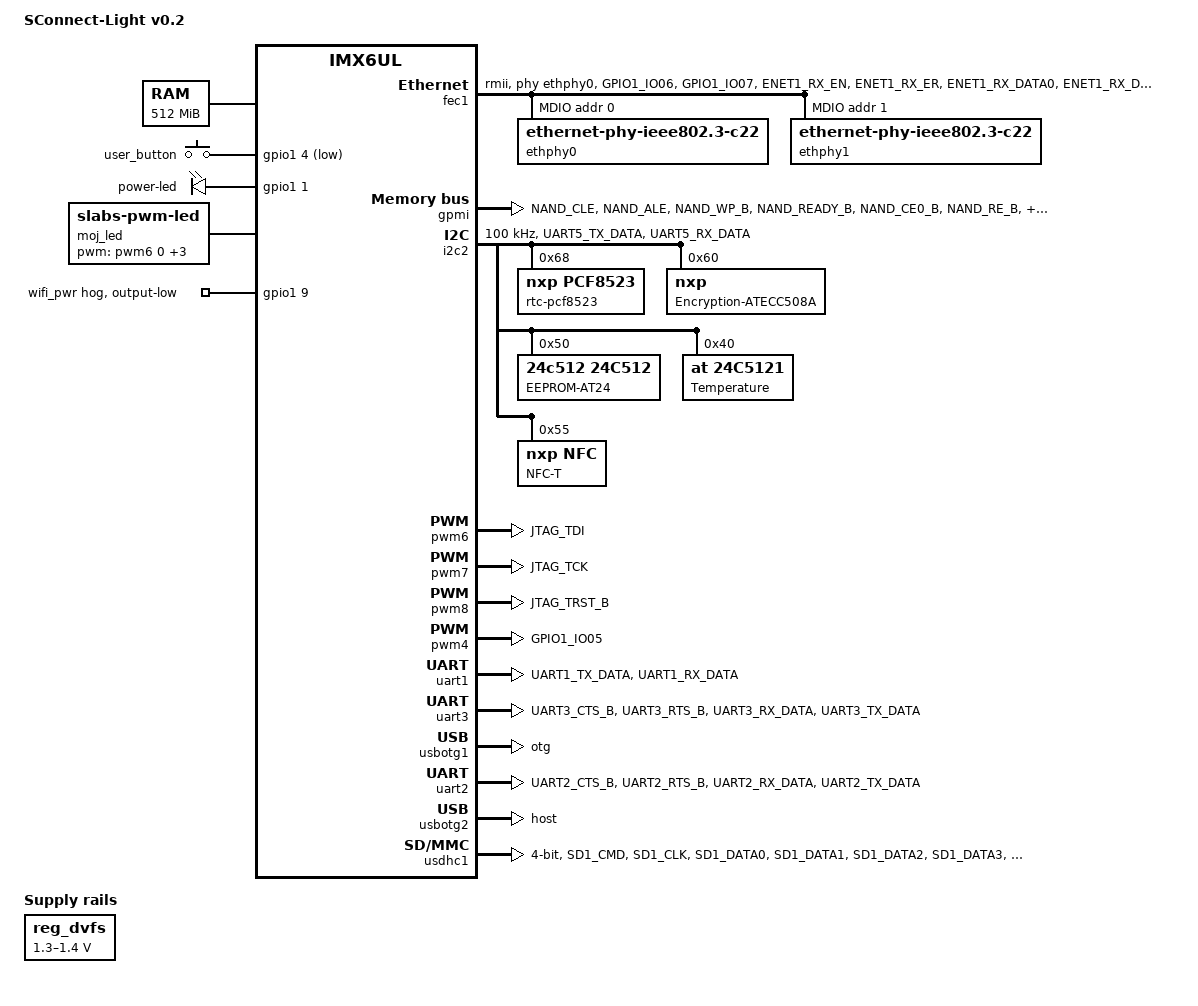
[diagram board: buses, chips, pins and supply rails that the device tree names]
/*
 * Copyright (C) 2015 Freescale Semiconductor, Inc.
 *
 * This program is free software; you can redistribute it and/or modify
 * it under the terms of the GNU General Public License version 2 as
 * published by the Free Software Foundation.
 */

/dts-v1/;

#include "imx6ul.dtsi"

/ {
	model = "SConnect-Light v0.2";
	compatible = "fsl,imx6ul-14x14-evk", "fsl,imx6ul";
	uboot_build = "";
	image_build = "";

	chosen {
		stdout-path = &uart1;
	};

	memory {
		reg = <0x80000000 0x20000000>;
	};

	reserved-memory {
		#address-cells = <1>;
		#size-cells = <1>;
		ranges;

		linux,cma {
			compatible = "shared-dma-pool";
			reusable;
			size = <0x14000000>;
			linux,cma-default;
		};
	};

	regulators {
		compatible = "simple-bus";
		#address-cells = <1>;
		#size-cells = <0>;
		
		reg_dvfs: regulator-gpio {
			compatible = "regulator-fixed";
			regulator-min-microvolt = <1300000>;
			regulator-max-microvolt = <1400000>;
			regulator-name = "gpio_dvfs";
			regulator-type = "voltage";
			states = <1300000 0x1 1400000 0x0>;
		};
	};
	
	gpio-keys {
		compatible = "gpio-keys";
		pinctrl-names = "default";
		pinctrl-0 = <&pinctrl_button_gpio>; /*<&pinctrl_gpio_key>; */
		
		pcb-button {
			label = "user_button";
			gpios = <&gpio1 4 GPIO_ACTIVE_LOW>;
			gpio-key; /*,wakeup; */
			linux,code = <108>;
		};
	};

	leds {
		compatible = "gpio-leds";
		pinctrl-names = "default";
		pinctrl-0 = <&pinctrl_leds>;

		led1: power_led {
			label = "power-led";
			gpios = <&gpio1 1 GPIO_ACTIVE_HIGH>;
			default-state = "off";
			linux,default-trigger = "gpio";
		};
		
	};

        pwm-led {
            compatible = "slabs-pwm-led";
            pwms = <&pwm6 0 5000000>, <&pwm7 0 5000000>, <&pwm8 0 5000000>, <&pwm4 0 5000000>;
            pwm-names = "pwm-green", "pwm-red", "pwm-blue", "pwm-blink";
            label = "moj_led";
            trigger = "booting";
            val = <0xAB>;
        
        };


};

&cpu0 {
	arm-supply = <&reg_arm>;
	soc-supply = <&reg_soc>;
	dc-supply = <&reg_dvfs>;
};

&clks {
	assigned-clocks = <&clks IMX6UL_CLK_PLL4_AUDIO_DIV>;
	assigned-clock-rates = <786432000>;
};

&csi {
	status = "disabled";
};

&fec1 {
	pinctrl-names = "default";
	pinctrl-0 = <&pinctrl_enet1>;
	phy-mode = "rmii";
	phy-handle = <&ethphy0>;
        phy-reset-gpios = <&gpio1 3 GPIO_ACTIVE_LOW>;
        phy-reset-duration = <5>;
	status = "okay";

    mdio {
		#address-cells = <1>;
		#size-cells = <0>;

		ethphy0: ethernet-phy@0 {
			compatible = "ethernet-phy-ieee802.3-c22";
			reg = <0>;
		};
		ethphy1: ethernet-phy@1 {
			compatible = "ethernet-phy-ieee802.3-c22";
			reg = <1>;
		};
	};
};

&gpc {
	fsl,cpu_pupscr_sw2iso = <0x1>;
	fsl,cpu_pupscr_sw = <0x0>;
	fsl,cpu_pdnscr_iso2sw = <0x1>;
	fsl,cpu_pdnscr_iso = <0x1>;
	fsl,ldo-bypass = <0>; /* DCDC, ldo-enable */
};

&gpmi {
	pinctrl-names = "default";
	pinctrl-0 = <&pinctrl_gpmi_nand_1>;
	status = "okay";
	nand-on-flash-bbt;
};

&i2c1 {
	clock-frequency = <100000>;
	pinctrl-names = "default";
	/*pinctrl-0 = <&pinctrl_i2c1>;*/
	status = "disabled";
};

&i2c2 {
	clock-frequency = <100000>;
	pinctrl-names = "default";
	pinctrl-0 = <&pinctrl_i2c2>;
	status = "okay";

	/*0xD0 0XD1*/
	rtc-pcf8523@68 {
		compatible = "nxp,pcf8523";  
		reg = <0x68>;
	};
	
	/*0xD0 0XD1*/
	Encryption-ATECC508A@60 {
		compatible = "nxp,";
		reg = <0x60>;
	};
	
	/*0x50 0X51  at24C512*/
	EEPROM-AT24@50 {
		compatible = "24c512,24c512";
		reg = <0x50>;
	};
	
	/*0x80 0X81 DNP*/
	Temperature@40 {
		compatible = "at,24c5121";
		reg = <0x40>;
	};
	/*0xAB 0XAA DNP*/
	NFC-T@55 {
		compatible = "nxp,NFC";
		reg = <0x55>;
	};
	
};

&iomuxc {
	pinctrl-names = "default";
	pinctrl-0 = <&pinctrl_hog_1>, <&pinctrl_out_up>, <&pinctrl_out_down>;
	imx6ul-evk {
		pinctrl_hog_1: hoggrp-1 {
			fsl,pins = <
			
				MX6UL_PAD_GPIO1_IO00__ANATOP_OTG1_ID        0x17059 /* USB OTG1 ID */
				MX6UL_PAD_GPIO1_IO04__GPIO1_IO04	    0x1b0b0 /* ENET1 RESET */
			
				MX6UL_PAD_GPIO1_IO03__GPIO1_IO03            0x000110A0 /* ENET1 INT */

				MX6UL_PAD_CSI_DATA04__GPIO4_IO25            0x000010B0 /* CPU_CTRL_BLE1 */
				MX6UL_PAD_CSI_DATA05__GPIO4_IO26            0x000010B0 /* CPU_RST_BLE1 */

                                MX6UL_PAD_CSI_DATA06__GPIO4_IO27            0x000010B0 /* CPU_CTRL_BLE2 */
                                MX6UL_PAD_CSI_DATA07__GPIO4_IO28            0x000010B0 /* CPU_RST_BLE2 */

/*
				MX6UL_PAD_JTAG_MOD__SJC_MOD                0x0000B0A0
				MX6UL_PAD_JTAG_TCK__SJC_TCK                0x000070A0
				MX6UL_PAD_JTAG_TDI__SJC_TDI                0x000070A0
				MX6UL_PAD_JTAG_TDO__SJC_TDO                0x0000B0B1
				MX6UL_PAD_JTAG_TMS__SJC_TMS                0x000070A0
				MX6UL_PAD_JTAG_TRST_B__SJC_TRSTB           0x000070A0
*/
				MX6UL_PAD_LCD_DATA00__SRC_BT_CFG00         0x000010B0
				MX6UL_PAD_LCD_DATA01__SRC_BT_CFG01         0x000010B0
				MX6UL_PAD_LCD_DATA02__SRC_BT_CFG02         0x000010B0
				MX6UL_PAD_LCD_DATA03__SRC_BT_CFG03         0x000010B0
				MX6UL_PAD_LCD_DATA04__SRC_BT_CFG04         0x000010B0
				MX6UL_PAD_LCD_DATA05__SRC_BT_CFG05         0x000010B0
				MX6UL_PAD_LCD_DATA06__SRC_BT_CFG06         0x000010B0
				MX6UL_PAD_LCD_DATA07__SRC_BT_CFG07         0x000010B0
				MX6UL_PAD_LCD_DATA08__SRC_BT_CFG08         0x000010B0
				MX6UL_PAD_LCD_DATA09__SRC_BT_CFG09         0x000010B0
				MX6UL_PAD_LCD_DATA10__SRC_BT_CFG10         0x000010B0
				MX6UL_PAD_LCD_DATA11__SRC_BT_CFG11         0x000010B0
				MX6UL_PAD_LCD_DATA12__SRC_BT_CFG12         0x000010B0
				MX6UL_PAD_LCD_DATA14__SRC_BT_CFG14         0x000010B0
				MX6UL_PAD_LCD_DATA15__SRC_BT_CFG15         0x000010B0
				MX6UL_PAD_LCD_DATA16__SRC_BT_CFG24         0x000010B0
				MX6UL_PAD_LCD_DATA17__SRC_BT_CFG25         0x000010B0
				MX6UL_PAD_LCD_DATA18__SRC_BT_CFG26         0x000010B0
				MX6UL_PAD_LCD_DATA19__SRC_BT_CFG27         0x000010B0
				MX6UL_PAD_LCD_DATA20__SRC_BT_CFG28         0x000010B0
				MX6UL_PAD_LCD_DATA21__SRC_BT_CFG29         0x000010B0
				MX6UL_PAD_LCD_DATA22__SRC_BT_CFG30         0x000010B0
				MX6UL_PAD_LCD_DATA23__SRC_BT_CFG31         0x000010B0
			>;
		};

                pinctrl_out_up: out_up {
			fsl,pins = <
				MX6UL_PAD_GPIO1_IO08__GPIO1_IO08	0x4001b8b0 /*WIFI_WAKE_R*/
			>;
		};

                pinctrl_out_down: out_down {
			fsl,pins = <
				MX6UL_PAD_GPIO1_IO09__GPIO1_IO09	0x4001b8b0 /* WIFI_PWR */
			>;
		};
				
		pinctrl_enet1: enet1grp {
			fsl,pins = <
				MX6UL_PAD_GPIO1_IO06__ENET1_MDIO	0x1b0b0
				MX6UL_PAD_GPIO1_IO07__ENET1_MDC		0x1b0b0
				MX6UL_PAD_ENET1_RX_EN__ENET1_RX_EN	0x1b0b0
				MX6UL_PAD_ENET1_RX_ER__ENET1_RX_ER	0x1b0b0
				MX6UL_PAD_ENET1_RX_DATA0__ENET1_RDATA00	0x1b0b0
				MX6UL_PAD_ENET1_RX_DATA1__ENET1_RDATA01	0x1b0b0
				MX6UL_PAD_ENET1_TX_EN__ENET1_TX_EN	0x1b0b0
				MX6UL_PAD_ENET1_TX_DATA0__ENET1_TDATA00	0x1b0b0
				MX6UL_PAD_ENET1_TX_DATA1__ENET1_TDATA01	0x1b0b0
				MX6UL_PAD_ENET1_TX_CLK__ENET1_REF_CLK1  0x4001b031
				/*reset phy*/
				
			>;
		};

		pinctrl_gpmi_nand_1: gpmi-nand-1 {
			fsl,pins = <
				MX6UL_PAD_NAND_CLE__RAWNAND_CLE         0xb0b1
				MX6UL_PAD_NAND_ALE__RAWNAND_ALE         0xb0b1
				MX6UL_PAD_NAND_WP_B__RAWNAND_WP_B       0xb0b1
				MX6UL_PAD_NAND_READY_B__RAWNAND_READY_B 0xb000
				MX6UL_PAD_NAND_CE0_B__RAWNAND_CE0_B     0xb0b1
				MX6UL_PAD_NAND_RE_B__RAWNAND_RE_B       0xb0b1
				MX6UL_PAD_NAND_WE_B__RAWNAND_WE_B       0xb0b1
				MX6UL_PAD_NAND_DATA00__RAWNAND_DATA00   0xb0b1
				MX6UL_PAD_NAND_DATA01__RAWNAND_DATA01   0xb0b1
				MX6UL_PAD_NAND_DATA02__RAWNAND_DATA02   0xb0b1
				MX6UL_PAD_NAND_DATA03__RAWNAND_DATA03   0xb0b1
				MX6UL_PAD_NAND_DATA04__RAWNAND_DATA04   0xb0b1
				MX6UL_PAD_NAND_DATA05__RAWNAND_DATA05   0xb0b1
				MX6UL_PAD_NAND_DATA06__RAWNAND_DATA06   0xb0b1
				MX6UL_PAD_NAND_DATA07__RAWNAND_DATA07   0xb0b1
			>;
		};

/*		pinctrl_i2c1: i2c1grp {
			fsl,pins = <
				MX6UL_PAD_GPIO1_IO02__I2C1_SCL	0x4001b8b0
				MX6UL_PAD_GPIO1_IO03__I2C1_SDA	0x4001b8b0
			>;
		};
*/
		pinctrl_i2c2: i2c2grp {
			fsl,pins = <
				MX6UL_PAD_UART5_TX_DATA__I2C2_SCL 0x4001b8b0
				MX6UL_PAD_UART5_RX_DATA__I2C2_SDA 0x4001b8b0
			>;
		};

		pinctrl_pwm6: pwm6grp {
			fsl,pins = <
				MX6UL_PAD_JTAG_TDI__PWM6_OUT   0x110b0
			>;
		};

		pinctrl_pwm7: pwm7grp {
			fsl,pins = <
				MX6UL_PAD_JTAG_TCK__PWM7_OUT   0x110b0
			>;
		};

		pinctrl_pwm8: pwm8grp {
			fsl,pins = <
				MX6UL_PAD_JTAG_TRST_B__PWM8_OUT   0x110b0
			>;
		};

		pinctrl_pwm4: pwm4grp {
			fsl,pins = <
				MX6UL_PAD_GPIO1_IO05__PWM4_OUT   0x110b0
			>;
		};

		pinctrl_qspi: qspigrp {
			fsl,pins = <
				MX6UL_PAD_NAND_WP_B__QSPI_A_SCLK      0x70a1
				MX6UL_PAD_NAND_READY_B__QSPI_A_DATA00 0x70a1
				MX6UL_PAD_NAND_CE0_B__QSPI_A_DATA01   0x70a1
				MX6UL_PAD_NAND_CE1_B__QSPI_A_DATA02   0x70a1
				MX6UL_PAD_NAND_CLE__QSPI_A_DATA03     0x70a1
				MX6UL_PAD_NAND_DQS__QSPI_A_SS0_B      0x70a1
			>;
		};

		pinctrl_uart1: uart1grp {
			fsl,pins = <
				MX6UL_PAD_UART1_TX_DATA__UART1_DCE_TX 0x1b0b1
				MX6UL_PAD_UART1_RX_DATA__UART1_DCE_RX 0x1b0b1
			>;
		};

		pinctrl_uart2: uart2grp {
			fsl,pins = <
        		        MX6UL_PAD_UART2_CTS_B__UART2_DCE_CTS       0x000010B1
                                MX6UL_PAD_UART2_RTS_B__UART2_DCE_RTS       0x000010B1
                                MX6UL_PAD_UART2_RX_DATA__UART2_DCE_RX      0x000010B1
                                MX6UL_PAD_UART2_TX_DATA__UART2_DCE_TX      0x000010B1
			>;
		};
		
                pinctrl_uart3: uart3grp {
                        fsl,pins = <
                                MX6UL_PAD_UART3_CTS_B__UART3_DCE_CTS       0x000010B1
                                MX6UL_PAD_UART3_RTS_B__UART3_DCE_RTS       0x000010B1
                                MX6UL_PAD_UART3_RX_DATA__UART3_DCE_RX      0x0000B0A0
                                MX6UL_PAD_UART3_TX_DATA__UART3_DCE_TX      0x0000B0A0								
			>;
		};
		
		pinctrl_usdhc1: usdhc1grp {
			fsl,pins = <					
				/*MX6UL_PAD_UART1_RTS_B__USDHC1_CD_B         0x000010B0
                                MX6UL_PAD_SD1_CLK__USDHC1_CLK              0x000010B0
                                MX6UL_PAD_SD1_CMD__USDHC1_CMD              0x000010B0
                                MX6UL_PAD_SD1_DATA0__USDHC1_DATA0          0x000010B0
                                MX6UL_PAD_SD1_DATA1__USDHC1_DATA1          0x000010B0
                                MX6UL_PAD_SD1_DATA2__USDHC1_DATA2          0x000010B0
                                MX6UL_PAD_SD1_DATA3__USDHC1_DATA3          0x000010B0
				*/
				MX6UL_PAD_SD1_CMD__USDHC1_CMD     0x17059
				MX6UL_PAD_SD1_CLK__USDHC1_CLK     0x10071
				MX6UL_PAD_SD1_DATA0__USDHC1_DATA0 0x17059
				MX6UL_PAD_SD1_DATA1__USDHC1_DATA1 0x17059
				MX6UL_PAD_SD1_DATA2__USDHC1_DATA2 0x17059
				MX6UL_PAD_SD1_DATA3__USDHC1_DATA3 0x17059
				
			>;
		};

		pinctrl_usdhc2_8bit: usdhc2grp_8bit {
			fsl,pins = <
				MX6UL_PAD_NAND_RE_B__USDHC2_CLK     0x10069
				MX6UL_PAD_NAND_WE_B__USDHC2_CMD     0x17059
				MX6UL_PAD_NAND_DATA00__USDHC2_DATA0 0x17059
				MX6UL_PAD_NAND_DATA01__USDHC2_DATA1 0x17059
				MX6UL_PAD_NAND_DATA02__USDHC2_DATA2 0x17059
				MX6UL_PAD_NAND_DATA03__USDHC2_DATA3 0x17059
				MX6UL_PAD_NAND_DATA04__USDHC2_DATA4 0x17059
				MX6UL_PAD_NAND_DATA05__USDHC2_DATA5 0x17059
				MX6UL_PAD_NAND_DATA06__USDHC2_DATA6 0x17059
				MX6UL_PAD_NAND_DATA07__USDHC2_DATA7 0x17059
			>;
		};

		pinctrl_usdhc2_8bit_100mhz: usdhc2grp_8bit_100mhz {
			fsl,pins = <
				MX6UL_PAD_NAND_RE_B__USDHC2_CLK     0x100b9
				MX6UL_PAD_NAND_WE_B__USDHC2_CMD     0x170b9
				MX6UL_PAD_NAND_DATA00__USDHC2_DATA0 0x170b9
				MX6UL_PAD_NAND_DATA01__USDHC2_DATA1 0x170b9
				MX6UL_PAD_NAND_DATA02__USDHC2_DATA2 0x170b9
				MX6UL_PAD_NAND_DATA03__USDHC2_DATA3 0x170b9
				MX6UL_PAD_NAND_DATA04__USDHC2_DATA4 0x170b9
				MX6UL_PAD_NAND_DATA05__USDHC2_DATA5 0x170b9
				MX6UL_PAD_NAND_DATA06__USDHC2_DATA6 0x170b9
				MX6UL_PAD_NAND_DATA07__USDHC2_DATA7 0x170b9
			>;
		};

		pinctrl_usdhc2_8bit_200mhz: usdhc2grp_8bit_200mhz {
			fsl,pins = <
				MX6UL_PAD_NAND_RE_B__USDHC2_CLK     0x100f9
				MX6UL_PAD_NAND_WE_B__USDHC2_CMD     0x170f9
				MX6UL_PAD_NAND_DATA00__USDHC2_DATA0 0x170f9
				MX6UL_PAD_NAND_DATA01__USDHC2_DATA1 0x170f9
				MX6UL_PAD_NAND_DATA02__USDHC2_DATA2 0x170f9
				MX6UL_PAD_NAND_DATA03__USDHC2_DATA3 0x170f9
				MX6UL_PAD_NAND_DATA04__USDHC2_DATA4 0x170f9
				MX6UL_PAD_NAND_DATA05__USDHC2_DATA5 0x170f9
				MX6UL_PAD_NAND_DATA06__USDHC2_DATA6 0x170f9
				MX6UL_PAD_NAND_DATA07__USDHC2_DATA7 0x170f9
			>;
		};

		pinctrl_otg1: otg1grp {
                        fsl,pins = <
				MX6UL_PAD_SD1_CLK__USB_OTG1_OC             0x000010B0
                                MX6UL_PAD_SD1_CMD__USB_OTG1_PWR            0x000010B0
                                MX6UL_PAD_SD1_DATA0__ANATOP_OTG1_ID        0x000010B0
			>;
		};

		pinctrl_otg2: otg2grp {
                        fsl,pins = <
				MX6UL_PAD_SD1_DATA1__USB_OTG2_PWR          0x000010B0
                                MX6UL_PAD_SD1_DATA2__USB_OTG2_OC           0x000010B0
                                MX6UL_PAD_SD1_DATA3__ANATOP_OTG2_ID        0x000010B0
			>;
		};
		
		pinctrl_leds: ledgrp {
			fsl,pins = <
				/*
                                    MX6UL_PAD_JTAG_TRST_B__GPIO1_IO15   0x000010B0 //BLUE_LED
			            MX6UL_PAD_JTAG_TDI__GPIO1_IO13   0x000010B0 //GREEN_LED
				    MX6UL_PAD_JTAG_TCK__GPIO1_IO14     0x000010B0 //RED_LED
				*/
                                MX6UL_PAD_GPIO1_IO01__GPIO1_IO01 0x000010B0 /*0x1b0b0 */ /*RED_LED_PW*/
			>;
		};
		pinctrl_button_gpio: bntgpio {
			fsl,pins = <
				MX6UL_PAD_GPIO1_IO04__GPIO1_IO04	0x1b0b0
			>;
		};
		
	};
};

&pwm6 {
	pinctrl-names = "default";
	pinctrl-0 = <&pinctrl_pwm6>;
	status = "okay";
};

&pwm7 {
	pinctrl-names = "default";
	pinctrl-0 = <&pinctrl_pwm7>;
	status = "okay";
};

&pwm8 {
	pinctrl-names = "default";
	pinctrl-0 = <&pinctrl_pwm8>;
	status = "okay";
};

&pwm4 {
	pinctrl-names = "default";
	pinctrl-0 = <&pinctrl_pwm4>;
	status = "okay";
};


&qspi {
	pinctrl-names = "default";
	pinctrl-0 = <&pinctrl_qspi>;
	status = "disabled";
	ddrsmp=<0>;
};

&uart1 {
	pinctrl-names = "default";
	pinctrl-0 = <&pinctrl_uart1>;
	status = "okay";
};



&uart3 {
	pinctrl-names = "default";
	pinctrl-0 = <&pinctrl_uart3>;
	uart-has-rtscts;
	/* for DTE mode, add below change */
	/* fsl,dte-mode; */
	/* pinctrl-0 = <&pinctrl_uart3dte>; */
	status = "okay";
};


&usbotg1 {
	dr_mode = "otg";
	srp-disable;
	hnp-disable;
	adp-disable;
/*	pinctrl-0 = <&pinctrl_otg1>;*/
	status = "okay";
};

&uart2 {
	pinctrl-names = "default";
	pinctrl-0 = <&pinctrl_uart2>;
	uart-has-rtscts;
	/* for DTE mode, add below change */
	/* fsl,dte-mode; */
	/* pinctrl-0 = <&pinctrl_uart2dte>; */
	status = "okay";
};

&usbotg2 {
	dr_mode = "host";
	disable-over-current;
	status = "okay";
	/*pinctrl-0 = <&pinctrl_otg2>;*/
	status = "okay";
};

&usbphy1 {
	tx-d-cal = <0x5>;
};

&usbphy2 {
	tx-d-cal = <0x5>;
};

&usdhc1 {
	pinctrl-names = "default";
	pinctrl-0 = <&pinctrl_usdhc1>;
	cd-gpios = <&gpio1 19 GPIO_ACTIVE_LOW>;
	keep-power-in-suspend;
	enable-sdio-wakeup;
	bus-width = <4>;
	status = "okay";
};

&gpio1 {

    wifi_pwr {
        gpio-hog;
        gpios = <9 GPIO_ACTIVE_HIGH>;
        output-low;
        line-name = "wifi_pwr";
    };
};

/*
&usdhc2 {
	#address-cells = <1>;
	#size-cells = <0>;
	pinctrl-names = "default";
	pinctrl-0 = <&pinctrl_usdhc2>;
	non-removable;
	status = "okay";
};
*/


	
	
	
	
